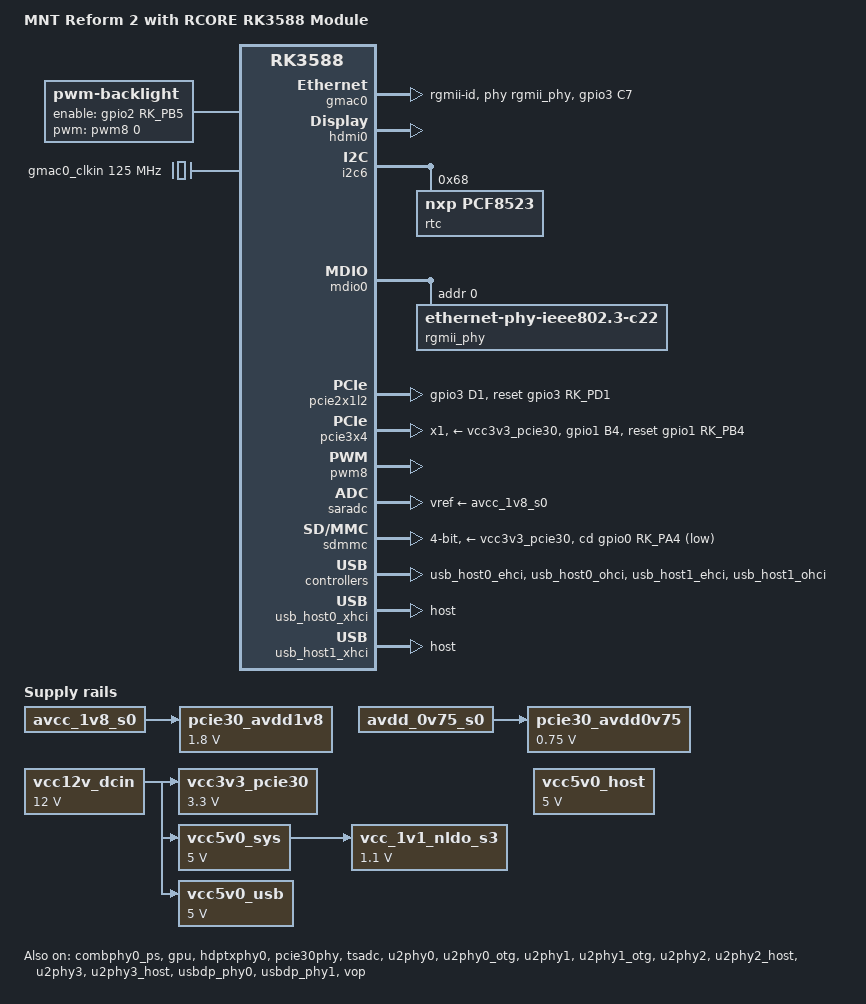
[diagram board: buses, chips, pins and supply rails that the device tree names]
// SPDX-License-Identifier: (GPL-2.0+ OR MIT)
/*
 * Copyright (c) 2021 Rockchip Electronics Co., Ltd.
 * Copyright (c) 2024 MNT Research GmbH
 */

/dts-v1/;

#include <dt-bindings/gpio/gpio.h>
#include <dt-bindings/input/input.h>
#include <dt-bindings/pinctrl/rockchip.h>
#include <dt-bindings/soc/rockchip,vop2.h>
#include <dt-bindings/usb/pd.h>

#include "rk3588-firefly-icore-3588q.dtsi"

/ {
	model = "MNT Reform 2 with RCORE RK3588 Module";
	compatible = "mntre,reform2-rcore", "firefly,icore-3588q", "rockchip,rk3588";
	chassis-type = "laptop";

	aliases {
		ethernet0 = &gmac0;
		mmc1 = &sdmmc;
	};

	chosen {
		stdout-path = "serial2:1500000n8";
	};

	backlight: backlight {
		compatible = "pwm-backlight";
		brightness-levels = <0 8 16 32 64 128 160 200 255>;
		default-brightness-level = <128>;
		enable-gpios = <&gpio2 RK_PB5 GPIO_ACTIVE_HIGH>;
		pwms = <&pwm8 0 10000 0>;
	};

	gmac0_clkin: external-gmac0-clock {
		compatible = "fixed-clock";
		#clock-cells = <0>;
		clock-frequency = <125000000>;
		clock-output-names = "gmac0_clkin";
	};

	pcie30_avdd1v8: regulator-pcie30-avdd1v8 {
		compatible = "regulator-fixed";
		regulator-boot-on;
		regulator-always-on;
		regulator-min-microvolt = <1800000>;
		regulator-max-microvolt = <1800000>;
		regulator-name = "pcie30_avdd1v8";
		vin-supply = <&avcc_1v8_s0>;
	};

	pcie30_avdd0v75: regulator-pcie30-avdd0v75 {
		compatible = "regulator-fixed";
		regulator-always-on;
		regulator-boot-on;
		regulator-min-microvolt = <750000>;
		regulator-max-microvolt = <750000>;
		regulator-name = "pcie30_avdd0v75";
		vin-supply = <&avdd_0v75_s0>;
	};

	vcc12v_dcin: regulator-vcc12v-dcin {
		compatible = "regulator-fixed";
		regulator-always-on;
		regulator-boot-on;
		regulator-min-microvolt = <12000000>;
		regulator-max-microvolt = <12000000>;
		regulator-name = "vcc12v_dcin";
	};

	vcc_1v1_nldo_s3: regulator-vcc-1v1-nldo-s3 {
		compatible = "regulator-fixed";
		regulator-name = "vcc_1v1_nldo_s3";
		regulator-always-on;
		regulator-boot-on;
		regulator-min-microvolt = <1100000>;
		regulator-max-microvolt = <1100000>;
		vin-supply = <&vcc5v0_sys>;
	};

	vcc3v3_pcie30: regulator-vcc3v3-pcie30 {
		compatible = "regulator-fixed";
		regulator-always-on;
		regulator-boot-on;
		regulator-min-microvolt = <3300000>;
		regulator-max-microvolt = <3300000>;
		regulator-name = "vcc3v3_pcie30";
		vin-supply = <&vcc12v_dcin>;
	};

	vcc5v0_host: regulator-vcc5v0-host {
		compatible = "regulator-fixed";
		regulator-always-on;
		regulator-boot-on;
		regulator-min-microvolt = <5000000>;
		regulator-max-microvolt = <5000000>;
		regulator-name = "vcc5v0_host";
	};

	vcc5v0_sys: regulator-vcc5v0-sys {
		compatible = "regulator-fixed";
		regulator-always-on;
		regulator-boot-on;
		regulator-min-microvolt = <5000000>;
		regulator-max-microvolt = <5000000>;
		regulator-name = "vcc5v0_sys";
		vin-supply = <&vcc12v_dcin>;
	};

	vcc5v0_usb: regulator-vcc5v0-usb {
		compatible = "regulator-fixed";
		regulator-always-on;
		regulator-boot-on;
		regulator-min-microvolt = <5000000>;
		regulator-max-microvolt = <5000000>;
		regulator-name = "vcc5v0_usb";
		vin-supply = <&vcc12v_dcin>;
	};
};

&combphy0_ps {
	status = "okay";
};

&gmac0 {
	clock_in_out = "output";
	phy-handle = <&rgmii_phy>;
	phy-mode = "rgmii-id";
	pinctrl-names = "default";
	pinctrl-0 = <&gmac0_miim
		     &gmac0_tx_bus2
		     &gmac0_rx_bus2
		     &gmac0_rgmii_clk
		     &gmac0_rgmii_bus
		     &gmac0_clkinout
		     &eth_phy_reset>;
	status = "okay";
};

&gpu {
	mali-supply = <&vdd_gpu_s0>;
	sram-supply = <&vdd_gpu_mem_s0>;
	status = "okay";
};

&hdmi0 {
	status = "okay";
};

&hdmi0_in {
	hdmi0_in_vp2: endpoint {
		remote-endpoint = <&vp2_out_hdmi0>;
	};
};

&hdptxphy0 {
	status = "okay";
};

&i2c6 {
	pinctrl-names = "default";
	pinctrl-0 = <&i2c6m0_xfer>;
	status = "okay";

	rtc@68 {
		compatible = "nxp,pcf8523";
		reg = <0x68>;
	};
};

&mdio0 {
	rgmii_phy: ethernet-phy@0 {
		compatible = "ethernet-phy-ieee802.3-c22";
		reg = <0x0>;
	};
};

&pcie2x1l2 {
	pinctrl-0 = <&pcie2_0_rst>;
	reset-gpios = <&gpio3 RK_PD1 GPIO_ACTIVE_HIGH>;
	status = "okay";
};

&pcie30phy {
	status = "okay";
};

&pcie3x4 {
	num-lanes = <1>;
	pinctrl-names = "default";
	pinctrl-0 = <&pcie3_reset>;
	reset-gpios = <&gpio1 RK_PB4 GPIO_ACTIVE_HIGH>;
	vpcie3v3-supply = <&vcc3v3_pcie30>;
	status = "okay";
};

&pinctrl {
	dp {
		dp1_hpd: dp1-hpd {
			rockchip,pins = <1 RK_PA5 RK_FUNC_GPIO &pcfg_pull_none>;
		};
	};

	pcie2 {
		pcie2_0_rst: pcie2-0-rst {
			rockchip,pins = <3 RK_PD1 RK_FUNC_GPIO &pcfg_pull_none>;
		};
	};

	pcie3 {
		pcie3_reset: pcie3-reset {
			rockchip,pins = <1 RK_PB4 RK_FUNC_GPIO &pcfg_pull_none>;
		};
	};

	eth_phy {
		eth_phy_reset: eth-phy-reset {
			rockchip,pins = <3 RK_PC7 RK_FUNC_GPIO &pcfg_pull_none>;
		};
	};
};

&pwm8 {
	pinctrl-0 = <&pwm8m2_pins>;
	status = "okay";
};

&saradc {
	vref-supply = <&avcc_1v8_s0>;
	status = "okay";
};

&sdmmc {
	bus-width = <4>;
	cap-sd-highspeed;
	cd-gpios = <&gpio0 RK_PA4 GPIO_ACTIVE_LOW>;
	disable-wp;
	max-frequency = <40000000>;
	no-1-8-v;
	no-mmc;
	no-sdio;
	vmmc-supply = <&vcc3v3_pcie30>;
	vqmmc-supply = <&vcc3v3_pcie30>;
	status = "okay";
};

&tsadc {
	status = "okay";
};

&u2phy0 {
	status = "okay";
};

&u2phy0_otg {
	status = "okay";
};

&u2phy1 {
	status = "okay";
};

&u2phy1_otg {
	status = "okay";
};

&u2phy2 {
	status = "okay";
};

&u2phy2_host {
	phy-supply = <&vcc5v0_host>;
	status = "okay";
};

&u2phy3 {
	status = "okay";
};

&u2phy3_host {
	phy-supply = <&vcc5v0_host>;
	status = "okay";
};

&usbdp_phy0 {
	status = "okay";
};

&usbdp_phy1 {
	status = "okay";
};

&usb_host0_ehci {
	status = "okay";
};

&usb_host0_ohci {
	status = "okay";
};

&usb_host0_xhci {
	dr_mode = "host";
	status = "okay";
};

&usb_host1_ehci {
	status = "okay";
};

&usb_host1_ohci {
	status = "okay";
};

&usb_host1_xhci {
	dr_mode = "host";
	status = "okay";
};

&vop {
	status = "okay";
};

&vop_mmu {
	status = "okay";
};

&vp2 {
	vp2_out_hdmi0: endpoint@ROCKCHIP_VOP2_EP_HDMI0 {
		reg = <ROCKCHIP_VOP2_EP_HDMI0>;
		remote-endpoint = <&hdmi0_in_vp2>;
	};
};
